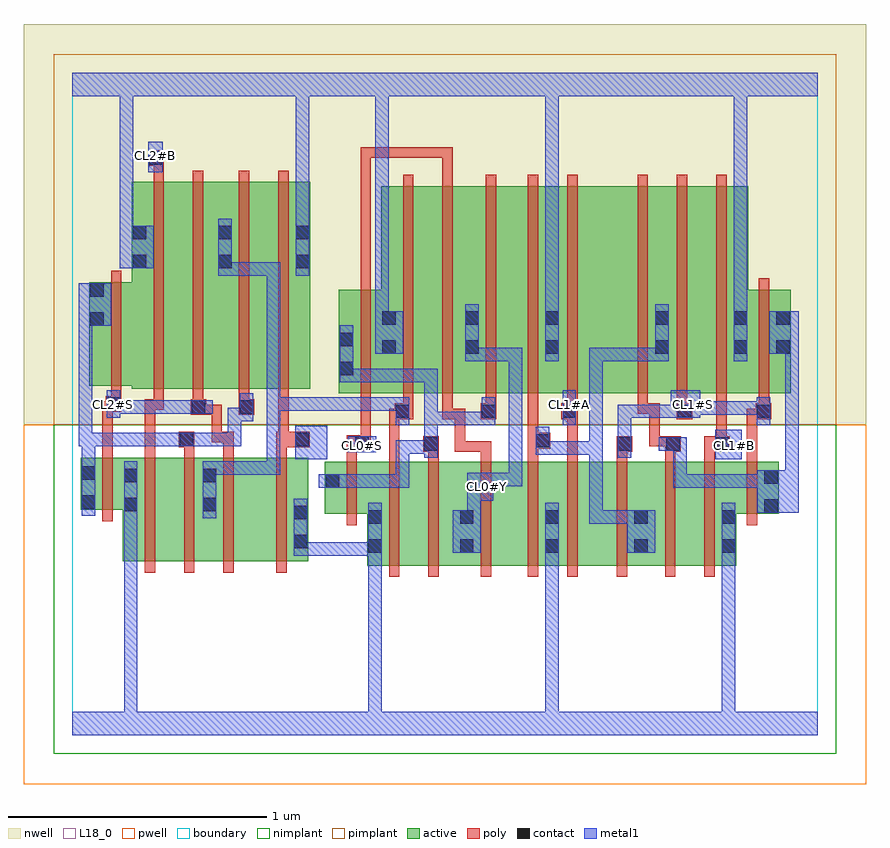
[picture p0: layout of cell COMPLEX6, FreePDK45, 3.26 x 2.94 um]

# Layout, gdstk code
import gdstk
lib = gdstk.Library(unit=1e-6, precision=1e-09)
def R(c, l, rs):  # rectangles x0, y0, x1, y1
    for r in rs: c.add(gdstk.rectangle(r[:2], r[2:], *l))
def A(c, l, x, y, w, h, nx, ny, dx, dy):  # array of equal rectangles
    R(c, l, [(x+i*dx, y+j*dy, x+i*dx+w, y+j*dy+h) for i in range(nx) for j in range(ny)])
active = (1, 0)
pwell = (2, 0)
nwell = (3, 0)
nimplant = (4, 0)
pimplant = (5, 0)
poly = (9, 0)
contact = (10, 0)
metal1 = (11, 0)
L18_0 = (18, 0)
boundary = (235, 0)

complex6 = lib.new_cell('COMPLEX6')
R(complex6, active, [(1.14,0.656,1.32,1.056), (1.32,0.656,1.554,1.056), (1.494,0.656,1.554,0.874), (1.494,0.656,1.678,1.056), (1.678,0.656,1.884,1.056), (1.824,0.656,1.884,0.874), (1.824,0.656,2.048,1.056), (2.048,0.656,2.228,1.056), (2.168,0.656,2.386,1.056), (2.168,0.656,2.228,0.874), (2.386,0.656,2.566,1.056), (0.196,0.672,0.376,1.072), (0.196,0.672,0.256,1.072), (0.376,0.672,0.56,1.072), (0.5,0.672,0.68,1.072), (0.5,0.672,0.56,1.072), (0.68,0.672,0.912,1.072), (0.852,0.672,0.912,1.072), (1.14,0.702,1.2,1.056), (2.506,0.702,2.566,0.874), (0.976,0.856,1.2,1.056), (2.506,0.856,2.73,1.056), (2.67,0.856,2.73,1.056), (0.032,0.872,0.092,1.072), (0.032,0.872,0.256,1.072), (0.976,0.952,1.036,1.056), (1.03,1.322,1.254,1.722), (1.03,1.322,1.09,1.644), (1.194,1.322,1.374,2.122), (1.194,1.322,1.254,2.122), (1.374,1.322,1.574,2.122), (1.514,1.322,1.694,2.122), (1.514,1.322,1.574,2.122), (1.694,1.322,1.884,2.122), (1.824,1.322,1.884,2.044), (1.824,1.322,2.108,2.122), (2.108,1.322,2.308,2.122), (2.248,1.322,2.432,2.122), (2.248,1.322,2.308,2.044), (2.432,1.322,2.612,2.122), (2.552,1.322,2.776,1.722), (2.552,1.322,2.612,1.644), (2.716,1.322,2.776,1.722), (0.23,1.338,0.41,2.138), (0.41,1.338,0.62,2.138), (0.56,1.338,0.74,2.138), (0.56,1.338,0.62,2.044), (0.74,1.338,0.92,2.138), (0.86,1.338,0.92,2.138), (0.066,1.35,0.29,1.75), (0.066,1.35,0.126,1.75), (0.23,1.35,0.29,2.138)])
R(complex6, pwell, [(-0.188,-0.188,3.068,1.2)])
R(complex6, nwell, [(-0.188,1.2,3.068,2.748)])
R(complex6, nimplant, [(-0.072,-0.072,2.952,1.2)])
R(complex6, pimplant, [(-0.072,1.2,2.952,2.632)])
A(complex6, poly, 0.28, 0.628, 0.04, 0.488, 3, 1, 0.152, 0)
A(complex6, poly, 2.184, 1.278, 0.04, 0.888, 3, 1, 0.152, 0)
R(complex6, poly, [(1.224,0.612,1.264,1.1), (1.376,0.612,1.416,1.1), (1.578,0.612,1.618,1.1), (1.76,0.612,1.8,1.1), (1.912,0.612,1.952,1.1), (2.104,0.612,2.144,1.1), (2.29,0.612,2.33,1.1), (2.442,0.612,2.482,1.1), (0.788,0.628,0.828,1.116), (1.06,0.812,1.1,1.1), (2.606,0.812,2.646,1.1), (0.116,0.828,0.156,1.116), (1.06,1.06,1.1,1.14), (1.224,1.06,1.264,1.262), (1.376,1.06,1.416,1.136), (1.578,1.06,1.618,1.136), (1.76,1.06,1.8,1.148), (1.912,1.06,1.952,1.262), (2.104,1.06,2.144,1.136), (2.29,1.06,2.33,1.136), (2.442,1.06,2.482,1.136), (2.606,1.06,2.646,1.262), (0.116,1.076,0.156,1.29), (0.28,1.076,0.32,1.298), (0.432,1.076,0.472,1.152), (0.584,1.076,0.624,1.172), (0.788,1.076,0.828,1.152), (1.356,1.096,1.416,1.156), (1.478,1.096,1.518,1.136), (1.478,1.096,1.518,1.262), (1.478,1.096,1.618,1.136), (1.578,1.096,1.618,1.136), (2.104,1.096,2.164,1.156), (2.29,1.096,2.35,1.156), (2.442,1.096,2.54,1.156), (1.06,1.1,1.15,1.16), (1.76,1.108,1.846,1.168), (0.412,1.112,0.472,1.172), (0.788,1.112,0.918,1.172), (2.23,1.116,2.27,1.156), (2.23,1.116,2.33,1.156), (2.23,1.116,2.27,1.282), (2.488,1.116,2.528,1.156), (2.488,1.116,2.528,1.156), (2.488,1.116,2.528,1.318), (1.11,1.12,1.15,1.16), (1.11,1.12,1.154,1.16), (1.114,1.12,1.154,1.318), (1.76,1.128,1.8,1.168), (1.76,1.128,1.8,1.168), (1.76,1.128,1.8,1.318), (0.538,1.132,0.578,1.172), (0.538,1.132,0.624,1.172), (0.538,1.132,0.578,1.278), (0.584,1.132,0.624,1.172), (0.796,1.132,0.836,1.172), (0.796,1.132,0.836,1.172), (0.796,1.132,0.836,1.334), (1.224,1.222,1.286,1.262), (1.246,1.222,1.286,1.262), (1.246,1.222,1.318,1.282), (1.43,1.222,1.47,1.262), (1.43,1.222,1.518,1.262), (1.43,1.222,1.47,1.318), (1.478,1.222,1.518,1.262), (1.578,1.222,1.638,1.282), (1.89,1.222,1.952,1.282), (1.912,1.222,1.952,1.262), (1.912,1.222,1.952,1.262), (2.336,1.222,2.396,1.282), (2.606,1.222,2.68,1.262), (2.64,1.222,2.68,1.262), (2.64,1.222,2.7,1.282), (0.458,1.238,0.518,1.298), (0.478,1.238,0.578,1.278), (0.538,1.238,0.578,1.278), (0.644,1.238,0.704,1.298), (1.278,1.242,1.318,1.318), (1.598,1.242,1.638,1.318), (1.912,1.242,1.952,1.318), (2.184,1.242,2.224,1.318), (2.184,1.242,2.224,1.282), (2.184,1.242,2.27,1.282), (2.23,1.242,2.27,1.282), (2.336,1.242,2.376,1.318), (2.652,1.242,2.692,1.318), (0.116,1.25,0.17,1.29), (0.13,1.25,0.17,1.29), (0.13,1.25,0.19,1.31), (0.28,1.258,0.32,1.298), (0.28,1.258,0.32,1.298), (0.28,1.258,0.354,1.298), (0.314,1.258,0.354,1.334), (0.466,1.258,0.506,1.334), (0.644,1.258,0.684,1.334), (0.15,1.27,0.19,1.346), (1.114,1.278,1.154,1.766), (1.278,1.278,1.318,2.166), (1.43,1.278,1.47,2.166), (1.598,1.278,1.638,2.166), (1.76,1.278,1.8,2.166), (1.912,1.278,1.952,2.166), (2.652,1.278,2.692,1.766), (0.314,1.294,0.354,2.182), (0.466,1.294,0.506,2.182), (0.644,1.294,0.684,2.182), (0.796,1.294,0.836,2.182), (0.15,1.306,0.19,1.794), (1.114,1.726,1.154,2.272), (1.43,2.126,1.47,2.272), (0.314,2.142,0.354,2.24), (0.294,2.2,0.354,2.26), (1.114,2.232,1.154,2.272), (1.114,2.232,1.154,2.272), (1.114,2.232,1.154,2.272), (1.114,2.232,1.154,2.272), (1.114,2.232,1.154,2.272), (1.114,2.232,1.154,2.272), (1.114,2.232,1.154,2.272), (1.114,2.232,1.154,2.272), (1.114,2.232,1.154,2.272), (1.114,2.232,1.154,2.272), (1.114,2.232,1.154,2.272), (1.114,2.232,1.29,2.272), (1.25,2.232,1.29,2.272), (1.25,2.232,1.29,2.272), (1.25,2.232,1.29,2.272), (1.25,2.232,1.47,2.272), (1.43,2.232,1.47,2.272)])
R(complex6, contact, [(1.144,0.706,1.196,0.758), (1.498,0.706,1.55,0.758), (1.828,0.706,1.88,0.758), (2.172,0.706,2.224,0.758), (2.51,0.706,2.562,0.758), (0.856,0.722,0.908,0.774), (1.144,0.818,1.196,0.87), (1.498,0.818,1.55,0.87), (1.828,0.818,1.88,0.87), (2.172,0.818,2.224,0.87), (2.51,0.818,2.562,0.87), (0.856,0.834,0.908,0.886), (2.674,0.86,2.726,0.912), (0.2,0.866,0.252,0.918), (0.504,0.866,0.556,0.918), (0.036,0.876,0.088,0.928), (0.98,0.956,1.032,1.008), (2.674,0.972,2.726,1.024), (0.2,0.978,0.252,1.03), (0.504,0.978,0.556,1.03), (0.036,0.988,0.088,1.04), (1.36,1.1,1.412,1.152), (2.108,1.1,2.16,1.152), (2.294,1.1,2.346,1.152), (2.484,1.1,2.536,1.152), (1.094,1.104,1.146,1.156), (1.79,1.112,1.842,1.164), (0.416,1.116,0.468,1.168), (0.862,1.116,0.914,1.168), (1.25,1.226,1.302,1.278), (1.582,1.226,1.634,1.278), (1.894,1.226,1.946,1.278), (2.34,1.226,2.392,1.278), (2.644,1.226,2.696,1.278), (0.462,1.242,0.514,1.294), (0.648,1.242,0.7,1.294), (0.134,1.254,0.186,1.306), (1.034,1.392,1.086,1.444), (1.198,1.474,1.25,1.526), (1.518,1.474,1.57,1.526), (1.828,1.474,1.88,1.526), (2.252,1.474,2.304,1.526), (2.556,1.474,2.608,1.526), (2.72,1.474,2.772,1.526), (1.034,1.504,1.086,1.556), (0.07,1.582,0.122,1.634), (1.198,1.586,1.25,1.638), (1.518,1.586,1.57,1.638), (1.828,1.586,1.88,1.638), (2.252,1.586,2.304,1.638), (2.556,1.586,2.608,1.638), (2.72,1.586,2.772,1.638), (0.07,1.694,0.122,1.746), (0.234,1.804,0.286,1.856), (0.564,1.804,0.616,1.856), (0.864,1.804,0.916,1.856), (0.234,1.916,0.286,1.968), (0.564,1.916,0.616,1.968), (0.864,1.916,0.916,1.968), (0.298,2.204,0.35,2.256)])
R(complex6, metal1, [(0,0,2.88,0.092), (0.2,0.04,0.252,0.092), (0.2,0.04,0.252,0.092), (0.2,0.04,0.252,0.092), (0.2,0.04,0.252,0.092), (0.2,0.04,0.252,0.092), (0.2,0.04,0.252,0.092), (0.2,0.04,0.252,0.092), (0.2,0.04,0.252,0.092), (0.2,0.04,0.252,0.092), (0.2,0.04,0.252,0.092), (0.2,0.04,0.252,0.092), (0.2,0.04,0.252,0.092), (0.2,0.04,0.252,0.89), (1.144,0.04,1.196,0.092), (1.144,0.04,1.196,0.092), (1.144,0.04,1.196,0.092), (1.144,0.04,1.196,0.092), (1.144,0.04,1.196,0.092), (1.144,0.04,1.196,0.092), (1.144,0.04,1.196,0.092), (1.144,0.04,1.196,0.092), (1.144,0.04,1.196,0.73), (1.828,0.04,1.88,0.092), (1.828,0.04,1.88,0.092), (1.828,0.04,1.88,0.092), (1.828,0.04,1.88,0.092), (1.828,0.04,1.88,0.73), (2.51,0.04,2.562,0.092), (2.51,0.04,2.562,0.092), (2.51,0.04,2.562,0.092), (2.51,0.04,2.562,0.092), (2.51,0.04,2.562,0.092), (2.51,0.04,2.562,0.092), (2.51,0.04,2.562,0.73), (1.144,0.678,1.196,0.73), (1.144,0.678,1.196,0.73), (1.144,0.678,1.196,0.73), (1.144,0.678,1.196,0.73), (1.144,0.678,1.196,0.898), (1.828,0.678,1.88,0.73), (1.828,0.678,1.88,0.73), (1.828,0.678,1.88,0.73), (1.828,0.678,1.88,0.73), (1.828,0.678,1.88,0.73), (1.828,0.678,1.88,0.73), (1.828,0.678,1.88,0.73), (1.828,0.678,1.88,0.73), (1.828,0.678,1.88,0.898), (2.51,0.678,2.562,0.73), (2.51,0.678,2.562,0.73), (2.51,0.678,2.562,0.73), (2.51,0.678,2.562,0.73), (2.51,0.678,2.562,0.73), (2.51,0.678,2.562,0.73), (2.51,0.678,2.562,0.898), (0.856,0.694,0.908,0.914), (0.856,0.694,1.026,0.746), (0.974,0.694,1.026,0.746), (0.974,0.694,1.026,0.746), (0.974,0.694,1.026,0.746), (0.974,0.694,1.196,0.746), (1.47,0.706,1.578,0.87), (2.144,0.706,2.252,0.87), (1.526,0.818,1.578,0.958), (1.998,0.818,2.05,0.87), (1.998,0.818,2.196,0.87), (1.998,0.818,2.05,1.136), (2.144,0.818,2.196,0.87), (2.144,0.818,2.196,0.87), (0.2,0.838,0.252,1.058), (0.504,0.838,0.556,1.058), (0.036,0.848,0.088,1.068), (2.646,0.86,2.806,1.024), (1.526,0.906,1.626,1.014), (0.952,0.956,1.06,1.008), (1.008,0.956,1.06,1.008), (1.008,0.956,1.06,1.008), (1.008,0.956,1.302,1.008), (1.25,0.956,1.302,1.008), (1.25,0.956,1.302,1.14), (2.322,0.956,2.374,1.008), (2.322,0.956,2.536,1.008), (2.322,0.956,2.374,1.152), (2.484,0.956,2.536,1.008), (2.484,0.956,2.536,1.008), (2.484,0.956,2.536,1.008), (2.484,0.956,2.698,1.008), (2.646,0.956,2.698,1.008), (2.646,0.956,2.698,1.008), (1.574,0.962,1.626,1.014), (1.574,0.962,1.626,1.014), (1.574,0.962,1.738,1.014), (1.686,0.962,1.738,1.014), (1.686,0.962,1.738,1.498), (2.754,0.972,2.806,1.526), (0.504,1.006,0.652,1.058), (0.6,1.006,0.652,1.058), (0.6,1.006,0.804,1.058), (0.752,1.006,0.804,1.058), (0.752,1.006,0.804,1.306), (0.036,1.016,0.088,1.168), (0.862,1.066,0.986,1.196), (2.484,1.066,2.586,1.18), (1.36,1.072,1.412,1.18), (2.108,1.072,2.16,1.18), (1.79,1.084,1.842,1.192), (1.79,1.084,1.94,1.136), (1.888,1.084,1.94,1.136), (1.888,1.084,2.05,1.136), (1.998,1.084,2.05,1.136), (1.998,1.084,2.05,1.136), (1.998,1.084,2.05,1.136), (1.998,1.084,2.05,1.498), (1.25,1.088,1.302,1.14), (1.25,1.088,1.302,1.14), (1.25,1.088,1.302,1.14), (1.25,1.088,1.412,1.14), (1.36,1.088,1.412,1.14), (1.36,1.088,1.412,1.14), (1.36,1.088,1.412,1.25), (1.066,1.094,1.174,1.156), (2.266,1.1,2.374,1.152), (2.322,1.1,2.374,1.152), (2.322,1.1,2.374,1.152), (0.026,1.116,0.078,1.168), (0.026,1.116,0.078,1.168), (0.026,1.116,0.078,1.634), (0.026,1.116,0.088,1.168), (0.036,1.116,0.088,1.168), (0.036,1.116,0.088,1.168), (0.036,1.116,0.33,1.168), (0.278,1.116,0.33,1.168), (0.278,1.116,0.33,1.168), (0.278,1.116,0.33,1.168), (0.278,1.116,0.44,1.168), (0.388,1.116,0.44,1.168), (0.388,1.116,0.44,1.168), (0.388,1.116,0.496,1.168), (0.444,1.116,0.652,1.168), (0.6,1.116,0.652,1.168), (0.6,1.116,0.652,1.266), (2.108,1.128,2.16,1.18), (2.108,1.128,2.16,1.18), (2.108,1.128,2.16,1.278), (1.25,1.198,1.302,1.306), (1.36,1.198,1.412,1.25), (1.36,1.198,1.412,1.25), (1.36,1.198,1.412,1.25), (1.36,1.198,1.522,1.25), (1.36,1.198,1.412,1.416), (1.47,1.198,1.522,1.25), (1.47,1.198,1.634,1.25), (1.582,1.198,1.634,1.306), (1.894,1.198,1.946,1.334), (2.644,1.198,2.696,1.306), (0.6,1.214,0.652,1.266), (0.6,1.214,0.7,1.266), (0.648,1.214,0.7,1.322), (0.134,1.226,0.186,1.334), (2.108,1.226,2.16,1.278), (2.108,1.226,2.364,1.278), (2.312,1.226,2.426,1.334), (2.374,1.238,2.426,1.29), (2.374,1.238,2.426,1.29), (2.374,1.238,2.586,1.29), (2.534,1.238,2.586,1.29), (2.534,1.238,2.586,1.29), (2.534,1.238,2.586,1.29), (2.534,1.238,2.696,1.29), (0.134,1.242,0.33,1.294), (0.278,1.242,0.33,1.294), (0.278,1.242,0.33,1.294), (0.278,1.242,0.33,1.294), (0.278,1.242,0.446,1.294), (0.394,1.242,0.446,1.294), (0.394,1.242,0.486,1.294), (0.434,1.242,0.542,1.294), (0.752,1.254,0.804,1.306), (0.752,1.254,0.804,1.306), (0.752,1.254,0.804,1.306), (0.752,1.254,0.894,1.306), (0.752,1.254,0.804,1.828), (0.842,1.254,0.894,1.306), (0.842,1.254,0.914,1.306), (0.862,1.254,0.914,1.306), (0.862,1.254,1.078,1.306), (1.026,1.254,1.078,1.306), (1.026,1.254,1.078,1.306), (1.026,1.254,1.078,1.306), (1.026,1.254,1.302,1.306), (1.25,1.254,1.302,1.306), (1.25,1.254,1.302,1.306), (1.034,1.364,1.086,1.416), (1.034,1.364,1.086,1.416), (1.034,1.364,1.086,1.584), (1.034,1.364,1.284,1.416), (1.232,1.364,1.284,1.416), (1.232,1.364,1.284,1.416), (1.232,1.364,1.284,1.416), (1.232,1.364,1.412,1.416), (1.36,1.364,1.412,1.416), (1.518,1.446,1.57,1.498), (1.518,1.446,1.57,1.498), (1.518,1.446,1.57,1.666), (1.518,1.446,1.738,1.498), (1.686,1.446,1.738,1.498), (1.686,1.446,1.738,1.498), (1.686,1.446,1.738,1.498), (1.828,1.446,1.88,1.666), (1.998,1.446,2.05,1.498), (1.998,1.446,2.05,1.498), (1.998,1.446,2.05,1.498), (1.998,1.446,2.16,1.498), (2.108,1.446,2.16,1.498), (2.108,1.446,2.304,1.498), (2.252,1.446,2.304,1.666), (2.556,1.446,2.608,1.666), (1.17,1.474,1.278,1.638), (2.692,1.474,2.806,1.638), (2.754,1.474,2.806,1.526), (2.754,1.474,2.806,1.526), (2.754,1.474,2.806,1.526), (2.754,1.474,2.806,1.526), (0.026,1.582,0.15,1.746), (1.17,1.586,1.222,1.638), (1.17,1.586,1.222,1.638), (1.17,1.586,1.222,1.638), (1.17,1.586,1.222,1.638), (1.17,1.586,1.222,1.638), (1.17,1.586,1.222,1.638), (1.17,1.586,1.222,2.52), (1.828,1.614,1.88,1.666), (1.828,1.614,1.88,1.666), (1.828,1.614,1.88,1.666), (1.828,1.614,1.88,1.666), (1.828,1.614,1.88,2.52), (2.556,1.614,2.608,1.666), (2.556,1.614,2.608,1.666), (2.556,1.614,2.608,1.666), (2.556,1.614,2.608,1.666), (2.556,1.614,2.608,1.666), (2.556,1.614,2.608,1.666), (2.556,1.614,2.608,1.666), (2.556,1.614,2.608,1.666), (2.556,1.614,2.608,2.52), (0.564,1.776,0.616,1.996), (0.564,1.776,0.652,1.828), (0.6,1.776,0.652,1.828), (0.6,1.776,0.804,1.828), (0.752,1.776,0.804,1.828), (0.864,1.776,0.916,1.996), (0.184,1.804,0.314,1.968), (0.184,1.916,0.236,2.52), (0.864,1.944,0.916,1.996), (0.864,1.944,0.916,1.996), (0.864,1.944,0.916,1.996), (0.864,1.944,0.916,1.996), (0.864,1.944,0.916,1.996), (0.864,1.944,0.916,1.996), (0.864,1.944,0.916,1.996), (0.864,1.944,0.916,1.996), (0.864,1.944,0.916,2.52), (0.294,2.176,0.35,2.294), (0,2.468,2.88,2.56), (0.184,2.468,0.236,2.52), (0.184,2.468,0.236,2.52), (0.184,2.468,0.236,2.52), (0.184,2.468,0.236,2.52), (0.184,2.468,0.236,2.52), (0.184,2.468,0.236,2.52), (0.184,2.468,0.236,2.52), (0.184,2.468,0.236,2.52), (1.17,2.468,1.222,2.52), (1.17,2.468,1.222,2.52), (1.828,2.468,1.88,2.52), (1.828,2.468,1.88,2.52), (1.828,2.468,1.88,2.52), (1.828,2.468,1.88,2.52)])
R(complex6, L18_0, [(0,0,2.88,0.092), (0.2,0.04,0.252,0.092), (0.2,0.04,0.252,0.092), (0.2,0.04,0.252,0.092), (0.2,0.04,0.252,0.092), (0.2,0.04,0.252,0.092), (0.2,0.04,0.252,0.092), (0.2,0.04,0.252,0.092), (0.2,0.04,0.252,0.092), (0.2,0.04,0.252,0.092), (0.2,0.04,0.252,0.092), (0.2,0.04,0.252,0.092), (0.2,0.04,0.252,0.092), (0.2,0.04,0.252,0.89), (1.144,0.04,1.196,0.092), (1.144,0.04,1.196,0.092), (1.144,0.04,1.196,0.092), (1.144,0.04,1.196,0.092), (1.144,0.04,1.196,0.092), (1.144,0.04,1.196,0.092), (1.144,0.04,1.196,0.092), (1.144,0.04,1.196,0.092), (1.144,0.04,1.196,0.73), (1.828,0.04,1.88,0.092), (1.828,0.04,1.88,0.092), (1.828,0.04,1.88,0.092), (1.828,0.04,1.88,0.092), (1.828,0.04,1.88,0.73), (2.51,0.04,2.562,0.092), (2.51,0.04,2.562,0.092), (2.51,0.04,2.562,0.092), (2.51,0.04,2.562,0.092), (2.51,0.04,2.562,0.092), (2.51,0.04,2.562,0.092), (2.51,0.04,2.562,0.73), (1.144,0.678,1.196,0.73), (1.144,0.678,1.196,0.73), (1.144,0.678,1.196,0.73), (1.144,0.678,1.196,0.73), (1.144,0.678,1.196,0.898), (1.828,0.678,1.88,0.73), (1.828,0.678,1.88,0.73), (1.828,0.678,1.88,0.73), (1.828,0.678,1.88,0.73), (1.828,0.678,1.88,0.73), (1.828,0.678,1.88,0.73), (1.828,0.678,1.88,0.73), (1.828,0.678,1.88,0.73), (1.828,0.678,1.88,0.898), (2.51,0.678,2.562,0.73), (2.51,0.678,2.562,0.73), (2.51,0.678,2.562,0.73), (2.51,0.678,2.562,0.73), (2.51,0.678,2.562,0.73), (2.51,0.678,2.562,0.73), (2.51,0.678,2.562,0.898), (0.856,0.694,0.908,0.914), (0.856,0.694,1.026,0.746), (0.974,0.694,1.026,0.746), (0.974,0.694,1.026,0.746), (0.974,0.694,1.026,0.746), (0.974,0.694,1.196,0.746), (1.47,0.706,1.578,0.87), (1.526,0.818,1.578,0.958), (0.2,0.838,0.252,1.058), (1.526,0.906,1.626,1.014), (1.574,0.934,1.626,0.986), (1.574,0.962,1.626,1.014), (1.574,0.962,1.626,1.014), (1.574,0.962,1.738,1.014), (1.686,0.962,1.738,1.014), (1.686,0.962,1.738,1.498), (0.862,1.066,0.986,1.196), (2.484,1.066,2.586,1.18), (2.108,1.072,2.16,1.18), (0.934,1.094,0.986,1.146), (1.066,1.094,1.174,1.156), (1.094,1.094,1.146,1.146), (2.534,1.094,2.586,1.146), (2.108,1.128,2.16,1.18), (2.108,1.128,2.16,1.18), (2.108,1.128,2.16,1.278), (1.894,1.198,1.946,1.334), (2.644,1.198,2.696,1.306), (0.134,1.226,0.186,1.334), (2.108,1.226,2.16,1.278), (2.108,1.226,2.364,1.278), (2.312,1.226,2.426,1.334), (2.374,1.238,2.426,1.29), (2.374,1.238,2.426,1.29), (2.374,1.238,2.586,1.29), (2.534,1.238,2.586,1.29), (2.534,1.238,2.586,1.29), (2.534,1.238,2.586,1.29), (2.534,1.238,2.696,1.29), (0.134,1.242,0.33,1.294), (0.278,1.242,0.33,1.294), (0.278,1.242,0.33,1.294), (0.278,1.242,0.33,1.294), (0.278,1.242,0.446,1.294), (0.394,1.242,0.446,1.294), (0.394,1.242,0.486,1.294), (0.434,1.242,0.542,1.294), (0.134,1.254,0.186,1.306), (1.894,1.254,1.946,1.306), (2.374,1.254,2.426,1.306), (1.518,1.446,1.57,1.498), (1.518,1.446,1.57,1.498), (1.518,1.446,1.57,1.666), (1.518,1.446,1.738,1.498), (1.686,1.446,1.738,1.498), (1.686,1.446,1.738,1.498), (1.686,1.446,1.738,1.498), (1.828,1.446,1.88,1.666), (2.556,1.446,2.608,1.666), (1.17,1.474,1.278,1.638), (1.17,1.586,1.222,1.638), (1.17,1.586,1.222,1.638), (1.17,1.586,1.222,1.638), (1.17,1.586,1.222,1.638), (1.17,1.586,1.222,1.638), (1.17,1.586,1.222,1.638), (1.17,1.586,1.222,2.52), (1.828,1.614,1.88,1.666), (1.828,1.614,1.88,1.666), (1.828,1.614,1.88,1.666), (1.828,1.614,1.88,1.666), (1.828,1.614,1.88,2.52), (2.556,1.614,2.608,1.666), (2.556,1.614,2.608,1.666), (2.556,1.614,2.608,1.666), (2.556,1.614,2.608,1.666), (2.556,1.614,2.608,1.666), (2.556,1.614,2.608,1.666), (2.556,1.614,2.608,1.666), (2.556,1.614,2.608,1.666), (2.556,1.614,2.608,2.52), (0.864,1.776,0.916,1.996), (0.184,1.804,0.314,1.968), (0.184,1.916,0.236,2.52), (0.864,1.944,0.916,1.996), (0.864,1.944,0.916,1.996), (0.864,1.944,0.916,1.996), (0.864,1.944,0.916,1.996), (0.864,1.944,0.916,1.996), (0.864,1.944,0.916,1.996), (0.864,1.944,0.916,1.996), (0.864,1.944,0.916,1.996), (0.864,1.944,0.916,2.52), (0.294,2.176,0.35,2.294), (0.294,2.214,0.346,2.266), (0,2.468,2.88,2.56), (0.184,2.468,0.236,2.52), (0.184,2.468,0.236,2.52), (0.184,2.468,0.236,2.52), (0.184,2.468,0.236,2.52), (0.184,2.468,0.236,2.52), (0.184,2.468,0.236,2.52), (0.184,2.468,0.236,2.52), (0.184,2.468,0.236,2.52), (1.17,2.468,1.222,2.52), (1.17,2.468,1.222,2.52), (1.828,2.468,1.88,2.52), (1.828,2.468,1.88,2.52), (1.828,2.468,1.88,2.52), (1.828,2.468,1.88,2.52)])
R(complex6, boundary, [(0,0,2.88,2.56)])
complex6.add(gdstk.Label('CL0#S', (1.12,1.12), layer=11, texttype=0))
complex6.add(gdstk.Label('CL0#Y', (1.6,0.96), layer=11, texttype=0))
complex6.add(gdstk.Label('CL1#A', (1.92,1.28), layer=11, texttype=0))
complex6.add(gdstk.Label('CL1#B', (2.56,1.12), layer=11, texttype=0))
complex6.add(gdstk.Label('CL1#S', (2.4,1.28), layer=11, texttype=0))
complex6.add(gdstk.Label('CL2#A', (0.96,1.12), layer=11, texttype=0))
complex6.add(gdstk.Label('CL2#B', (0.32,2.24), layer=11, texttype=0))
complex6.add(gdstk.Label('CL2#S', (0.16,1.28), layer=11, texttype=0))

lib.write_gds('COMPLEX6.gds')
